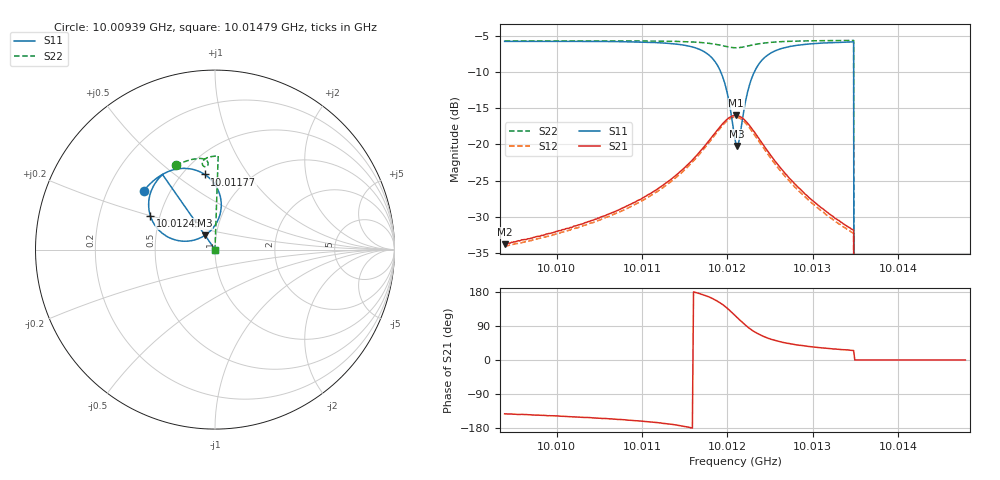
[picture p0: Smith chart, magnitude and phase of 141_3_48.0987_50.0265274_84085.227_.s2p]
#  HZ  S  RI  R  50.00
! Rohde & Schwarz Vector Network Analyzer
! Rohde-Schwarz,ZNB20-2Port,1311601062101988,3.16
! Created: UTC 12/23/2023, 3:48:46 AM
! freq[Hz]  re:S11  im:S11  re:S21  im:S21  re:S12  im:S12  re:S22  im:S22
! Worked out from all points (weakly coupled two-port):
!   401 points, 10.00939 GHz to 10.01479 GHz, reference 50 ohm
!   highest |S21| = -15.99 dB at 10.0121 GHz (marker M1); lowest = -33.8 dB at 10.00939 GHz (marker M2)
!   lowest |S11| = -20.2 dB at 10.01212 GHz (marker M3), VSWR 1.22, Z = 44 + j7.01 ohm
!   |S11| at or under -10 dB: 10.01192 GHz to 10.01231 GHz (392.9 kHz wide, 0.00392 % of centre); 10.01348 GHz to end of sweep
!   |S22| runs from - to -5.6 dB; largest |S21 - S12| = 0.0078
!   S11 on the Smith chart (normalised r, x): 10.00939 GHz: 0.36, +0.32; 10.01177 GHz: 0.64, +0.65; 10.01245 GHz: 0.44, +0.20; 10.01479 GHz: 1.00, +0.00
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1.0009391e10  -0.3962 0.3283  -0.0162 -0.0126  -0.015 -0.013  -0.2178 0.4697
1.0010295e10  -0.3415 0.3847  -0.0247 -0.0137  -0.0232 -0.0142  -0.1622 0.4927
1.0011198e10  -0.2409 0.442  -0.0485 -0.0123  -0.0461 -0.0143  -0.0992 0.5072
1.0011509e10  -0.1668 0.4525  -0.07 -0.00493  -0.067 -0.00843  -0.0732 0.5071
1.0011765e10  -0.0569 0.4185  -0.1007 0.0208  -0.0985 0.0151  -0.0489 0.4981
1.0011873e10  0.00167 0.3598  -0.1135 0.0495  -0.1128 0.0421  -0.0404 0.488
1.0011954e10  0.0325 0.28  -0.115 0.0816  -0.1157 0.0744  -0.0382 0.4771
1.0012008e10  0.0313 0.2103  -0.1062 0.1076  -0.1081 0.1004  -0.0406 0.4692
1.0012089e10  -0.0245 0.1051  -0.0732 0.1408  -0.0771 0.134  -0.0508 0.462
1.0012102e10  -0.0401 0.0913  -0.0659 0.1444  -0.0699 0.1378  -0.0529 0.4616
1.0012116e10  -0.0574 0.0788  -0.0582 0.1472  -0.0625 0.1407  -0.0551 0.4616
1.0012143e10  -0.0941 0.0601  -0.0429 0.1503  -0.0468 0.1444  -0.0593 0.4625
1.0012197e10  -0.1714 0.0466  -0.0125 0.148  -0.0164 0.1427  -0.0663 0.4673
1.0012278e10  -0.2694 0.0741  0.0224 0.1288  0.017 0.1246  -0.0708 0.4782
1.0012359e10  -0.3284 0.1267  0.0397 0.1048  0.0346 0.1016  -0.069 0.4893
1.0012453e10  -0.3599 0.1877  0.0475 0.0801  0.0424 0.0781  -0.0629 0.4989
1.0012682e10  -0.3657 0.2909  0.0443 0.0441  0.0402 0.044  -0.0435 0.5119
1.0012993e10  -0.338 0.3626  0.0339 0.0234  0.0312 0.0237  -0.0181 0.5187
1.0013451e10  -0.2947 0.4161  0.0235 0.0113  0.0218 0.0119  0.0159 0.5215
1.0013519e10  0 0  0 0  0 0  0 0
1.0013896e10  0 0  0 0  0 0  0 0
1.0014787e10  0 0  0 0  0 0  0 0
